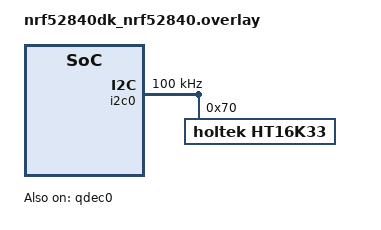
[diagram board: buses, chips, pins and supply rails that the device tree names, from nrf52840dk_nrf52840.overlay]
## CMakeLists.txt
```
# SPDX-License-Identifier: Apache-2.0

cmake_minimum_required(VERSION 3.20.0)

find_package(Zephyr REQUIRED HINTS $ENV{ZEPHYR_BASE})
project(wowdoge)

FILE(GLOB app_sources src/*.c)
target_sources(app PRIVATE ${app_sources})
```

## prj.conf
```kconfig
CONFIG_LOG=y
CONFIG_I2C=y
CONFIG_LED=y
CONFIG_KSCAN=y
CONFIG_KSCAN_INIT_PRIORITY=95
CONFIG_HT16K33_KEYSCAN=y
CONFIG_GPIO=y

CONFIG_SENSOR=y
CONFIG_PRINTK=y
```

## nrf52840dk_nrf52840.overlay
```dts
// To get started, press Ctrl+Space to bring up the completion menu and view the available nodes.

// You can also use the buttons in the sidebar to perform actions on nodes.
// Actions currently available include:

// * Enabling / disabling the node
// * Adding the bus to a bus
// * Removing the node
// * Connecting ADC channels

// For more help, browse the DeviceTree documentation at https://docs.zephyrproject.org/latest/guides/dts/index.html
// You can also visit the nRF DeviceTree extension documentation at https://nrfconnect.github.io/vscode-nrf-connect/devicetree/nrfdevicetree.html

/*
 * Copyright 2023 Nordic Semiconductor ASA
 * SPDX-License-Identifier: Apache-2.0
 */

 / {
	aliases {
		qdec0 = &qdec0;
	};

};

&pinctrl {
	qdec_pinctrl: qdec_pinctrl {
		group1 {
			psels = <NRF_PSEL(QDEC_A, 1, 4)>,   /* Arduino D3 */
				<NRF_PSEL(QDEC_B, 1, 3)>;   /* Arduino D2 */
		};
	};
};

&qdec0 {
	status = "okay";
	pinctrl-0 = <&qdec_pinctrl>;
	pinctrl-names = "default";
	steps = < 20 >;
	led-pre = < 500 >;
};

&i2c0 {
	clock-frequency = <I2C_BITRATE_STANDARD>;

	ht16k33@70 {
		compatible = "holtek,ht16k33";
		reg = <0x70>;
                /* Uncomment to use IRQ instead of polling: */
		/* irq-gpios = <&gpio1 8 (GPIO_PULL_UP | GPIO_ACTIVE_LOW)>; */

		keyscan {
			compatible = "holtek,ht16k33-keyscan";
		};
	};
};
```

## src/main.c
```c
#include <zephyr/sys/util.h>
#include <zephyr/drivers/gpio.h>
#include <zephyr/drivers/led.h>
#include <zephyr/devicetree.h>
#include <zephyr/kernel.h>
#include <zephyr/logging/log.h>

#include <zephyr/device.h>
#include <zephyr/drivers/sensor.h>
#include <zephyr/sys/printk.h>

int number_led_matrix_arr_4x8[10][32]= {
    { // 0
        0,1,1,0,
        1,0,0,1,
        1,0,0,1,
        1,0,0,1,
        1,0,0,1,
        1,0,0,1,
        1,0,0,1,
        0,1,1,0
    },
    { // 1
        0,0,1,0,
        0,1,1,0,
        0,0,1,0,
        0,0,1,0,
        0,0,1,0,
        0,0,1,0,
        0,0,1,0,
        0,1,1,1
    },
    { // 2
        0,1,1,0,
        1,0,0,1,
        0,0,0,1,
        0,0,1,0,
        0,1,0,0,
        1,0,0,0,
        1,0,0,0,
        1,1,1,1
    },
    { // 3
        1,1,1,0,
        0,0,0,1,
        0,0,0,1,
        0,1,1,0,
        0,0,0,1,
        0,0,0,1,
        0,0,0,1,
        1,1,1,0
    },
    { // 4
        0,0,1,0,
        0,1,1,0,
        1,0,1,0,
        1,0,1,0,
        1,1,1,1,
        0,0,1,0,
        0,0,1,0,
        0,0,1,0
    },
    { // 5
        1,1,1,1,
        1,0,0,0,
        1,0,0,0,
        1,1,1,0,
        0,0,0,1,
        0,0,0,1,
        0,0,0,1,
        1,1,1,0
    },
    { // 6
        0,1,1,0,
        1,0,0,0,
        1,0,0,0,
        1,1,1,0,
        1,0,0,1,
        1,0,0,1,
        1,0,0,1,
        0,1,1,0
    },
    { // 7
        1,1,1,1,
        0,0,0,1,
        0,0,0,1,
        0,0,1,0,
        0,1,0,0,
        0,1,0,0,
        0,1,0,0,
        0,1,0,0
    },
    { // 8
        0,1,1,0,
        1,0,0,1,
        1,0,0,1,
        0,1,1,0,
        1,0,0,1,
        1,0,0,1,
        1,0,0,1,
        0,1,1,0
    },
    { // 9
        0,1,1,0,
        1,0,0,1,
        1,0,0,1,
        0,1,1,1,
        0,0,0,1,
        0,0,0,1,
        0,0,0,1,
        1,1,1,0
    }
};

LOG_MODULE_REGISTER(main, CONFIG_LOG_DEFAULT_LEVEL);

#define LED_NODE DT_COMPAT_GET_ANY_STATUS_OKAY(holtek_ht16k33)

const struct device *led; // 전역 변수 선언

#define GPIO_FAIL -1
#define GPIO_OK 0

static struct gpio_callback button0_cb_data;
static struct gpio_callback button_reset_cb_data;

#define GROUND_START 96
#define GROUND_END 128

#define DINO_LED 84
#define LIVES 4
int lives = LIVES;

int score;

bool is_jumping = false;
int dino_pos = DINO_LED;
int previous_dino_pos = DINO_LED; // 추가된 변수
int obstacle_pos = GROUND_END - 1;

bool should_turn_off_led = false; // 추가된 변수
int led_to_turn_off = 0; // 추가된 변수


#define BUTTON_NODE DT_ALIAS(sw0)
#define RESET_NODE DT_ALIAS(sw1)

static const struct gpio_dt_spec button0 = GPIO_DT_SPEC_GET(BUTTON_NODE, gpios);
static const struct gpio_dt_spec button_reset = GPIO_DT_SPEC_GET(RESET_NODE, gpios);


//Using for rotaryencoder
struct sensor_value val;
int rc;
const struct device *const dev = DEVICE_DT_GET(DT_ALIAS(qdec0));


static const struct gpio_dt_spec leds[] = {
    GPIO_DT_SPEC_GET(DT_ALIAS(led0), gpios),
    GPIO_DT_SPEC_GET(DT_ALIAS(led1), gpios),
    GPIO_DT_SPEC_GET(DT_ALIAS(led2), gpios),
    GPIO_DT_SPEC_GET(DT_ALIAS(led3), gpios)
};

void game_loop(struct k_work *work);
K_WORK_DELAYABLE_DEFINE(game_work, game_loop);

void button0_callback(const struct device *dev, struct gpio_callback *cb, uint32_t pins)
{
    if (!is_jumping) {
        should_turn_off_led = true; // LED를 꺼야 함을 표시
        led_to_turn_off = dino_pos; // 꺼야 할 LED의 위치 설정
        is_jumping = true;
        dino_pos -= 16; // Jump up one row
        printk("Dino jumps to %d\n", dino_pos);
    }
}

void button_reset_callback(const struct device *dev, struct gpio_callback *cb, uint32_t pins)
{
    reset_game();
}

void reset_game()
{
    lives = LIVES;
    dino_pos = DINO_LED;
    previous_dino_pos = DINO_LED;
    obstacle_pos = GROUND_END - 1;
    is_jumping = false;
    should_turn_off_led = false;
    score = 0;

    for (int i = 0; i < LIVES; i++) {
        gpio_pin_set_dt(&leds[i], 1);
    }

    printk("Game reset\n");

    
    k_work_reschedule(&game_work, K_NO_WAIT);
}

int gpio_init(void)
{
    int err = GPIO_FAIL;

    // Set button0 interrupt
    printk("Setting button0 interrupt\n");

    err = gpio_is_ready_dt(&button0);
    if (!err) {
        printk("Error gpio_is_ready_dt button0 pin %d\n", err);
        return GPIO_FAIL;
    }

    err = gpio_pin_configure_dt(&button0, GPIO_INPUT | GPIO_PULL_UP);
    if (err < 0) {
        printk("Error configuring button0 pin %d\n", err);
        return GPIO_FAIL;
    }

    err = gpio_pin_interrupt_configure_dt(&button0, GPIO_INT_EDGE_TO_ACTIVE);
    if (err != 0) {
        printk("Error configuring interrupt on button0 pin %d\n", err);
        return GPIO_FAIL;
    }
    gpio_init_callback(&button0_cb_data, button0_callback, BIT(button0.pin));
    gpio_add_callback(button0.port, &button0_cb_data);

    // Set reset button interrupt
    printk("Setting reset button interrupt\n");

    err = gpio_is_ready_dt(&button_reset);
    if (!err) {
        printk("Error gpio_is_ready_dt button_reset pin %d\n", err);
        return GPIO_FAIL;
    }

    err = gpio_pin_configure_dt(&button_reset, GPIO_INPUT | GPIO_PULL_UP);
    if (err < 0) {
        printk("Error configuring button_reset pin %d\n", err);
        return GPIO_FAIL;
    }

    err = gpio_pin_interrupt_configure_dt(&button_reset, GPIO_INT_EDGE_TO_ACTIVE);
    if (err != 0) {
        printk("Error configuring interrupt on button_reset pin %d\n", err);
        return GPIO_FAIL;
    }
    gpio_init_callback(&button_reset_cb_data, button_reset_callback, BIT(button_reset.pin));
    gpio_add_callback(button_reset.port, &button_reset_cb_data);

    // Configure LEDs
    for (int i = 0; i < LIVES; i++) {
        if (!device_is_ready(leds[i].port)) {
            printk("Error: LED device %d not ready\n", i);
            return GPIO_FAIL;
        }
        err = gpio_pin_configure_dt(&leds[i], GPIO_OUTPUT_ACTIVE);
        if (err < 0) {
            printk("Error %d: failed to configure LED %d pin\n", err, i);
            return GPIO_FAIL;
        }
    }

    return GPIO_OK;
}

void game_loop(struct k_work *work)
{
    static int jump_counter = 0;
    static int game_speed = 121; // Game speed in milliseconds
    static int loop_counter = 0; // 루프 반복 횟수를 세는 변수
    const int speed_up_interval = 50; // 속도를 증가시킬 간격 (루프 횟수)
    const int min_game_speed = 20; // 최소 게임 속도 (milliseconds)
    const int max_game_speed = 500; // 최소 게임 속도 (milliseconds)


    // Handle jumping logic
    if (is_jumping) {
        jump_counter++;
        led_off(led, dino_pos);
        if (jump_counter >= 5) { // Adjust jump duration for slower game speed
            dino_pos += 16; // Fall back down
            is_jumping = false;
            jump_counter = 0;
            printk("Dino falls to %d\n", dino_pos);
        }
    }

    // Turn off LED if needed
    if (should_turn_off_led) {
        led_off(led, led_to_turn_off);
        should_turn_off_led = false;
    }

    // Turn off the previous position LED when falling down
    if (!is_jumping && previous_dino_pos != dino_pos) {
        led_off(led, previous_dino_pos);
        previous_dino_pos = dino_pos;
    }

    // Set new Dino position
    led_on(led, dino_pos);
    
    // Ensure ground LEDs are always on
    for (int i = GROUND_START; i < GROUND_END; i++) {
        led_on(led, i);
    }

    // Move obstacle
    if (obstacle_pos >= 80) {
        led_off(led, obstacle_pos);
        obstacle_pos--;
        if (obstacle_pos < 80) {
            obstacle_pos = 96 - 1; // Reset obstacle to the end
        } else {
            led_on(led, obstacle_pos);
        }
    }

    // Check for collision
    if (dino_pos == obstacle_pos) {
        printk("Collision detected at %d!\n", dino_pos);
        lives--;
        for (int i = 0; i < 128; i++) {
            led_on(led, i);
            k_sleep(K_MSEC(10));
        }
        for (int i = 128; i >= 0; i--) {
            led_off(led, i);
            k_sleep(K_MSEC(10));
        }
        if (lives > 0) {
            gpio_pin_set_dt(&leds[lives], 0);
            obstacle_pos = GROUND_END - 1; // Reset obstacle to the end
        } else {
            // Game over
            for (int i = 0; i < 128; i++) {
                led_on(led, i);
            }
            k_sleep(K_MSEC(75));
            for (int i = 128; i >= 0; i--) {
                led_off(led, i);
            }
            k_sleep(K_MSEC(75));

            if(score > 9999)
                score = 9999;
            printk("score %d\n",score);
            int thousands=0, hundreds=0, tens=0, ones=0;

            // Extracting digits
            thousands = score / 1000;
            hundreds = (score % 1000) / 100;
            tens = (score % 100) / 10;
            ones = score % 10;

            int num_arr_idx = 0;

            for(int i = 0; i < 128; i+=16){
                for(int j = i; j < (i+4); j++){
                    if(number_led_matrix_arr_4x8[thousands][num_arr_idx] == 1){
                        // printk("[tens] led_on: j:[%d] num_array_idx[%d]\n", j, num_arr_idx);
                        led_on(led, j);
                    } else {
                        led_off(led, j);
                    }

                    num_arr_idx++;
                }
            }

            num_arr_idx = 0;

            for(int i = 0; i < 128; i+=16){
                for(int j = (i+4); j < (i+8); j++){
                    if(number_led_matrix_arr_4x8[hundreds][num_arr_idx] == 1){
                        // printk("[units] led_on: j:[%d] num_array_idx[%d]\n", j, num_arr_idx);
                        led_on(led, j);
                    } else {
                        led_off(led, j);
                    }
                    num_arr_idx++;
                }
            }
        

            num_arr_idx = 0;

            for(int i = 0; i < 128; i+=16){
                for(int j = (i+8); j < (i+12); j++){
                    if(number_led_matrix_arr_4x8[tens][num_arr_idx] == 1){
                        // printk("[tens] led_on: j:[%d] num_array_idx[%d]\n", j, num_arr_idx);
                        led_on(led, j);
                    } else {
                        led_off(led, j);
                    }

                    num_arr_idx++;
                }
            }

            num_arr_idx = 0;

            for(int i = 0; i < 128; i+=16){
                for(int j = (i+12); j < (i+16); j++){
                    if(number_led_matrix_arr_4x8[ones][num_arr_idx] == 1){
                        // printk("[units] led_on: j:[%d] num_array_idx[%d]\n", j, num_arr_idx);
                        led_on(led, j);
                    } else {
                        led_off(led, j);
                    }
                    num_arr_idx++;
                }
            }


            for (int i = 0; i < LIVES; i++) {
                gpio_pin_set_dt(&leds[i], 0);
            }
            k_sleep(K_MSEC(75));
            // for (int i = 128; i >= 0; i--) {
            //     led_off(led, i);
            // }
            // k_sleep(K_MSEC(75));
            // printk("Game over\n");
            // for (int i = 0; i < LIVES; i++) {
            //     gpio_pin_set_dt(&leds[i], 0);
            // }
            
            return;
        }
    }

    // 일정 간격마다 게임 속도 증가
    // loop_counter++;
    rc = sensor_sample_fetch(dev);
    if (rc != 0) {
        printk("Failed to fetch sample (%d)\n", rc);
        return;
    }

    rc = sensor_channel_get(dev, SENSOR_CHAN_ROTATION, &val);
    if (rc != 0) {
        printk("Failed to get data (%d)\n", rc);
        return;
    }
    
    loop_counter++;
    if (val.val1 != 0) {
        
        game_speed -= (val.val1 / 18) * 5; // 속도를 줄임 (게임 속도 증가)
        if(game_speed < min_game_speed){
            game_speed = min_game_speed;
        }
        else if(game_speed > max_game_speed){
            game_speed = max_game_speed;
        }
        printk("encoder_val : %d\n",val.val1);
        printk("Increasing game speed: %d ms\n", game_speed);
    }
    else if (loop_counter % speed_up_interval == 0 && game_speed > min_game_speed) {
        game_speed -= 5; // 속도를 줄임 (게임 속도 증가)
        printk("Increasing game speed: %d ms\n", game_speed);
    }



    // Schedule next iteration
    score++;
    k_work_reschedule(&game_work, K_MSEC(game_speed));
}

void main(void)
{
    int err;

    err = gpio_init();
    if (err != GPIO_OK) {
        printk("Error gpio_init %d\n", err);
        return;
    }

    led = DEVICE_DT_GET(LED_NODE);
    if (!device_is_ready(led)) {
        LOG_ERR("LED device not ready");
        return;
    }

    printk("LED device ready\n");

    led_set_brightness(led, 0, 0.1);

    for (int i = GROUND_START; i < GROUND_END; i++) {
        led_on(led, i);
    }

    // Set initial Dino position
    led_on(led, dino_pos);

    // Initialize lives LEDs
    for (int i = 0; i < LIVES; i++) {
        gpio_pin_set_dt(&leds[i], 1);
    }

    //check for rotaryencoder
    if (!device_is_ready(dev)) {
		printk("Qdec device is not ready\n");
		return;
	}

    // Start game loop
    k_work_schedule(&game_work, K_NO_WAIT);
}
```

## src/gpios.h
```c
#include <zephyr/kernel.h>
#include <zephyr/drivers/gpio.h>
#include <zephyr/sys/util.h>
#include <zephyr/drivers/led.h>
#include <zephyr/drivers/kscan.h>
#include <zephyr/devicetree.h>
#include <zephyr/logging/log.h>

#define GPIO_FAIL -1
#define GPIO_OK 0

/* The devicetree node identifier for the "led0" alias. */
#define LED0_NODE DT_ALIAS(led0)
#if !DT_NODE_HAS_STATUS(LED0_NODE, okay)
#error "Unsupported board: led0 devicetree alias is not defined"
#endif
static const struct gpio_dt_spec led0 = GPIO_DT_SPEC_GET(DT_ALIAS(led0), gpios);

#define LED1_NODE DT_ALIAS(led1)
#if !DT_NODE_HAS_STATUS(LED1_NODE, okay)
#error "Unsupported board: led1 devicetree alias is not defined"
#endif
static const struct gpio_dt_spec led1 = GPIO_DT_SPEC_GET(DT_ALIAS(led1), gpios);

#define LED2_NODE DT_ALIAS(led2)
#if !DT_NODE_HAS_STATUS(LED2_NODE, okay)
#error "Unsupported board: led2 devicetree alias is not defined"
#endif
static const struct gpio_dt_spec led2 = GPIO_DT_SPEC_GET(DT_ALIAS(led2), gpios);

#define LED3_NODE DT_ALIAS(led3)
#if !DT_NODE_HAS_STATUS(LED3_NODE, okay)
#error "Unsupported board: led3 devicetree alias is not defined"
#endif
static const struct gpio_dt_spec led3 = GPIO_DT_SPEC_GET(DT_ALIAS(led3), gpios);


// buttons
#define SW0_NODE	DT_ALIAS(sw0)
#if !DT_NODE_HAS_STATUS(SW0_NODE, okay)
#error "Unsupported board: sw0 devicetree alias is not defined"
#endif
static const struct gpio_dt_spec button0 = GPIO_DT_SPEC_GET(SW0_NODE, gpios);

#define SW1_NODE	DT_ALIAS(sw1)
#if !DT_NODE_HAS_STATUS(SW1_NODE, okay)
#error "Unsupported board: sw1 devicetree alias is not defined"
#endif
static const struct gpio_dt_spec button1 = GPIO_DT_SPEC_GET(SW1_NODE, gpios);

#define SW2_NODE	DT_ALIAS(sw2)
#if !DT_NODE_HAS_STATUS(SW2_NODE, okay)
#error "Unsupported board: sw2 devicetree alias is not defined"
#endif
static const struct gpio_dt_spec button2 = GPIO_DT_SPEC_GET(SW2_NODE, gpios);

#define SW3_NODE	DT_ALIAS(sw3)
#if !DT_NODE_HAS_STATUS(SW3_NODE, okay)
#error "Unsupported board: sw3 devicetree alias is not defined"
#endif
static const struct gpio_dt_spec button3 = GPIO_DT_SPEC_GET(SW3_NODE, gpios);

int gpio_init(void);
```
